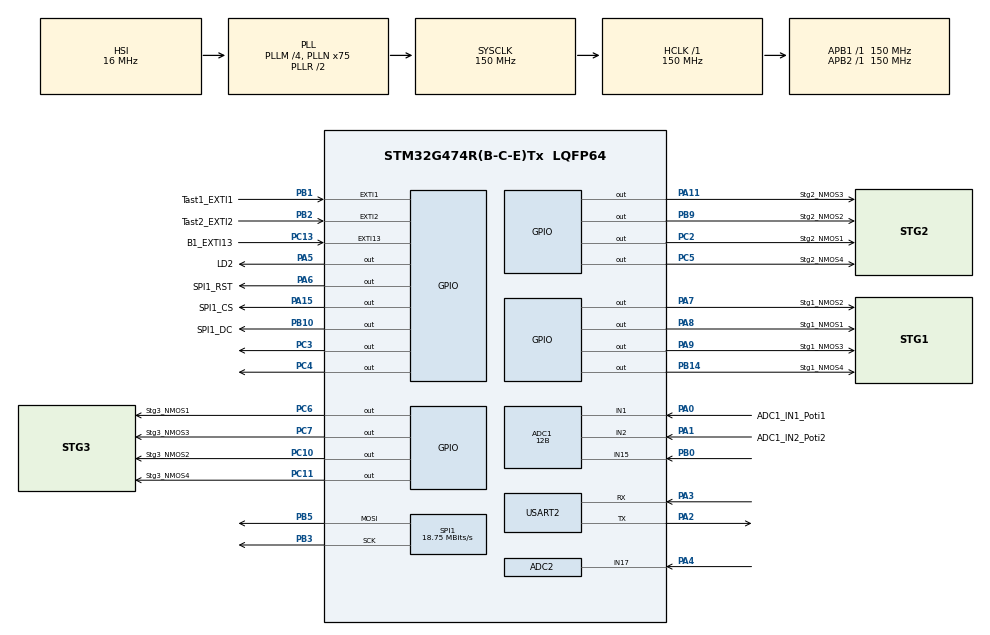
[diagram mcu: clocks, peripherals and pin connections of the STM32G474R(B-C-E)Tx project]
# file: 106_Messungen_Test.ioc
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ADC1.Channel-2\#ChannelRegularConversion=ADC_CHANNEL_1
ADC1.Channel-3\#ChannelRegularConversion=ADC_CHANNEL_2
ADC1.Channel-4\#ChannelRegularConversion=ADC_CHANNEL_15
ADC1.ContinuousConvMode=ENABLE
ADC1.DMAContinuousRequests=ENABLE
ADC1.EOCSelection=ADC_EOC_SEQ_CONV
ADC1.NbrOfConversion=3
ADC1.NbrOfConversionFlag=1
ADC1.OffsetNumber-2\#ChannelRegularConversion=ADC_OFFSET_NONE
ADC1.OffsetNumber-3\#ChannelRegularConversion=ADC_OFFSET_NONE
ADC1.OffsetNumber-4\#ChannelRegularConversion=ADC_OFFSET_NONE
ADC1.Overrun=ADC_OVR_DATA_PRESERVED
ADC1.Rank-2\#ChannelRegularConversion=1
ADC1.Rank-3\#ChannelRegularConversion=2
ADC1.Rank-4\#ChannelRegularConversion=3
ADC1.Resolution=ADC_RESOLUTION_12B
ADC1.SamplingTime-2\#ChannelRegularConversion=ADC_SAMPLETIME_640CYCLES_5
ADC1.SamplingTime-3\#ChannelRegularConversion=ADC_SAMPLETIME_640CYCLES_5
ADC1.SamplingTime-4\#ChannelRegularConversion=ADC_SAMPLETIME_640CYCLES_5
ADC1.master=1
ADC2.Channel-0\#ChannelRegularConversion=ADC_CHANNEL_17
ADC2.ContinuousConvMode=ENABLE
ADC2.DMAContinuousRequests=ENABLE
ADC2.EOCSelection=ADC_EOC_SEQ_CONV
ADC2.NbrOfConversion=1
ADC2.NbrOfConversionFlag=1
ADC2.OffsetNumber-0\#ChannelRegularConversion=ADC_OFFSET_NONE
ADC2.Overrun=ADC_OVR_DATA_PRESERVED
ADC2.Rank-0\#ChannelRegularConversion=1
ADC2.Resolution=ADC_RESOLUTION_12B
ADC2.SamplingTime-0\#ChannelRegularConversion=ADC_SAMPLETIME_640CYCLES_5
Dma.ADC1.0.Direction=DMA_PERIPH_TO_MEMORY
Dma.ADC1.0.EventEnable=DISABLE
Dma.ADC1.0.Instance=DMA1_Channel1
Dma.ADC1.0.MemDataAlignment=DMA_MDATAALIGN_WORD
Dma.ADC1.0.MemInc=DMA_MINC_ENABLE
Dma.ADC1.0.Mode=DMA_CIRCULAR
Dma.ADC1.0.PeriphDataAlignment=DMA_PDATAALIGN_WORD
Dma.ADC1.0.PeriphInc=DMA_PINC_DISABLE
Dma.ADC1.0.Polarity=HAL_DMAMUX_REQ_GEN_RISING
Dma.ADC1.0.Priority=DMA_PRIORITY_LOW
Dma.ADC1.0.RequestNumber=1
Dma.ADC1.0.SignalID=NONE
Dma.ADC1.0.SyncEnable=DISABLE
Dma.ADC1.0.SyncPolarity=HAL_DMAMUX_SYNC_NO_EVENT
Dma.ADC1.0.SyncRequestNumber=1
Dma.ADC1.0.SyncSignalID=NONE
Dma.ADC2.1.Direction=DMA_PERIPH_TO_MEMORY
Dma.ADC2.1.EventEnable=DISABLE
Dma.ADC2.1.Instance=DMA2_Channel1
Dma.ADC2.1.MemDataAlignment=DMA_MDATAALIGN_WORD
Dma.ADC2.1.MemInc=DMA_MINC_ENABLE
Dma.ADC2.1.Mode=DMA_CIRCULAR
Dma.ADC2.1.PeriphDataAlignment=DMA_PDATAALIGN_WORD
Dma.ADC2.1.PeriphInc=DMA_PINC_DISABLE
Dma.ADC2.1.Polarity=HAL_DMAMUX_REQ_GEN_RISING
Dma.ADC2.1.Priority=DMA_PRIORITY_LOW
Dma.ADC2.1.RequestNumber=1
Dma.ADC2.1.SignalID=NONE
Dma.ADC2.1.SyncEnable=DISABLE
Dma.ADC2.1.SyncPolarity=HAL_DMAMUX_SYNC_NO_EVENT
Dma.ADC2.1.SyncRequestNumber=1
Dma.ADC2.1.SyncSignalID=NONE
Dma.Request0=ADC1
Dma.Request1=ADC2
Mcu.Family=STM32G4
Mcu.Name=STM32G474R(B-C-E)Tx
Mcu.Package=LQFP64
NVIC.DMA1_Channel1_IRQn=true\:0\:0\:false\:false\:true\:false\:true\:true
NVIC.DMA2_Channel1_IRQn=true\:0\:0\:false\:false\:true\:false\:true\:true
NVIC.EXTI15_10_IRQn=true\:0\:0\:false\:false\:true\:true\:true\:true
NVIC.EXTI1_IRQn=true\:0\:0\:false\:false\:true\:true\:true\:true
NVIC.EXTI2_IRQn=true\:0\:0\:false\:false\:true\:true\:true\:true
NVIC.PriorityGroup=NVIC_PRIORITYGROUP_4
NVIC.TIM1_TRG_COM_TIM17_IRQn=true\:0\:0\:false\:false\:true\:true\:true\:true
NVIC.TIM1_UP_TIM16_IRQn=true\:0\:0\:false\:false\:true\:true\:true\:true
PA0.GPIO_Label=ADC1_IN1_Poti1
PA0.Mode=IN1-Single-Ended
PA0.Signal=ADC1_IN1
PA1.GPIO_Label=ADC1_IN2_Poti2
PA1.Mode=IN2-Single-Ended
PA1.Signal=ADC1_IN2
PA11.GPIO_Label=Stg2_NMOS3
PA11.Signal=GPIO_Output
PA13.Mode=Serial_Wire
PA13.Signal=SYS_JTMS-SWDIO
PA14.Mode=Serial_Wire
PA14.Signal=SYS_JTCK-SWCLK
PA15.GPIO_Label=SPI1_CS
PA15.Signal=GPIO_Output
PA2.Mode=Asynchronous
PA2.Signal=USART2_TX
PA3.Mode=Asynchronous
PA3.Signal=USART2_RX
PA4.Mode=IN17-Single-Ended
PA4.Signal=ADC2_IN17
PA5.GPIO_Label=LD2
PA5.Signal=GPIO_Output
PA6.GPIO_Label=SPI1_RST
PA6.Signal=GPIO_Output
PA7.GPIO_Label=Stg1_NMOS2
PA7.Signal=GPIO_Output
PA8.GPIO_Label=Stg1_NMOS1
PA8.Signal=GPIO_Output
PA9.GPIO_Label=Stg1_NMOS3
PA9.Signal=GPIO_Output
PB0.Mode=IN15-Single-Ended
PB0.Signal=ADC1_IN15
PB1.GPIO_Label=Tast1_EXTI1
PB1.GPIO_ModeDefaultEXTI=GPIO_MODE_IT_RISING
PB1.GPIO_PuPd=GPIO_PULLDOWN
PB1.Signal=GPXTI1
PB10.GPIO_Label=SPI1_DC
PB10.Signal=GPIO_Output
PB14.GPIO_Label=Stg1_NMOS4
PB14.Signal=GPIO_Output
PB2.GPIO_Label=Tast2_EXTI2
PB2.GPIO_PuPd=GPIO_PULLDOWN
PB2.Signal=GPXTI2
PB3.Mode=TX_Only_Simplex_Unidirect_Master
PB3.Signal=SPI1_SCK
PB5.Mode=TX_Only_Simplex_Unidirect_Master
PB5.Signal=SPI1_MOSI
PB9.GPIO_Label=Stg2_NMOS2
PB9.Signal=GPIO_Output
PC10.GPIO_Label=Stg3_NMOS2
PC10.Signal=GPIO_Output
PC11.GPIO_Label=Stg3_NMOS4
PC11.Signal=GPIO_Output
PC13.GPIO_Label=B1_EXTI13
PC13.GPIO_ModeDefaultEXTI=GPIO_MODE_IT_RISING
PC13.GPIO_PuPd=GPIO_NOPULL
PC13.Signal=GPXTI13
PC2.GPIO_Label=Stg2_NMOS1
PC2.Signal=GPIO_Output
PC3.Signal=GPIO_Output
PC4.Signal=GPIO_Output
PC5.GPIO_Label=Stg2_NMOS4
PC5.Signal=GPIO_Output
PC6.GPIO_Label=Stg3_NMOS1
PC6.Signal=GPIO_Output
PC7.GPIO_Label=Stg3_NMOS3
PC7.Signal=GPIO_Output
PF0-OSC_IN.Mode=HSE-External-Oscillator
PF0-OSC_IN.Signal=RCC_OSC_IN
PF1-OSC_OUT.Mode=HSE-External-Oscillator
PF1-OSC_OUT.Signal=RCC_OSC_OUT
ProjectManager.HeapSize=0x200
ProjectManager.StackSize=0x400
ProjectManager.TargetToolchain=STM32CubeIDE
RCC.ADC12Freq_Value=150000000
RCC.ADC345Freq_Value=150000000
RCC.AHBFreq_Value=150000000
RCC.APB1Freq_Value=150000000
RCC.APB1TimFreq_Value=150000000
RCC.APB2Freq_Value=150000000
RCC.APB2TimFreq_Value=150000000
RCC.CortexFreq_Value=150000000
RCC.EXTERNAL_CLOCK_VALUE=12288000
RCC.HCLKFreq_Value=150000000
RCC.HSE_VALUE=48000000
RCC.HSI48_VALUE=48000000
RCC.HSI_VALUE=16000000
RCC.LSE_VALUE=32768
RCC.PLLM=RCC_PLLM_DIV4
RCC.PLLN=75
RCC.SYSCLKFreq_VALUE=150000000
RCC.SYSCLKSource=RCC_SYSCLKSOURCE_PLLCLK
RCC.USBFreq_Value=150000000
RCC.VCOOutputFreq_Value=300000000
SPI1.BaudRatePrescaler=SPI_BAUDRATEPRESCALER_8
SPI1.CLKPolarity=SPI_POLARITY_LOW
SPI1.CalculateBaudRate=18.75 MBits/s
SPI1.DataSize=SPI_DATASIZE_8BIT
SPI1.Direction=SPI_DIRECTION_2LINES
SPI1.Mode=SPI_MODE_MASTER
SPI1.VirtualType=VM_MASTER
TIM16.PeriodNoDither=1000
TIM16.Prescaler=15000 - 1
TIM17.PeriodNoDither=5000
TIM17.Prescaler=15000-1
USART2.VirtualMode-Asynchronous=VM_ASYNC
VP_SYS_VS_DBSignals.Mode=DisableDeadBatterySignals
VP_TIM16_VS_ClockSourceINT.Mode=Enable_Timer
VP_TIM17_VS_ClockSourceINT.Mode=Enable_Timer
board=custom

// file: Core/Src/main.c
/* USER CODE BEGIN Header */
/**
 ******************************************************************************
 * @file           : main.c
 * @brief          : Main program body
 ******************************************************************************
 Mit diesem Code werden die ADC und Taster getestet.
 State IDLE:
 Im State IDLE ist die ADC-Messung gestoppt.

 State ADC_Values:
 Im State ADC_Values werden die ADC Werte auf dem Display und in der Putty Konsole angezeigt.
 Wenn ein Taster gedrückt wird, erfolgt eine Meldung auf dem Display und in der Konsole.
 Die ADC Werte werden mit dem DMA direkt vom ADC in die Arrays AD_RES_BUFFER_ADC1
 und AD_RES_BUFFER_ADC2 übertragen. Dies benötigt keine CPU Zeit und es können mehrere Kanäle
 eines ADCs ausgelesen werden ohne das die HAL neu konfiguriert werden muss.
 Mit der Timer Callback Funktion HAL_TIM_PeriodElapsedCallback wird das Display und
 die Konsole alle 0.5s aktualisiert.

 Der Blaue User Button B1 wird für die Umschaltung zwischen den States verwendet.
 Die externen Buttons haben zurzeit noch keine Funktion.

 ******************************************************************************
 */
/* USER CODE END Header */
#include "main.h"

/* USER CODE BEGIN Includes */
#include "ST7735.h"
#include "GFX_FUNCTIONS.h"
#include "task_handler.h"
#include <stdbool.h>
/* USER CODE END Includes */

ADC_HandleTypeDef hadc1;
ADC_HandleTypeDef hadc2;
DMA_HandleTypeDef hdma_adc1;
DMA_HandleTypeDef hdma_adc2;

SPI_HandleTypeDef hspi1;

TIM_HandleTypeDef htim16;
TIM_HandleTypeDef htim17;

UART_HandleTypeDef huart2;

/* USER CODE BEGIN PV */
uint8_t px_ofs2 = 15;			// Offset in pixel
// Arrays für ADC Messungen, DMA schreibt direkt in diese Arrays
uint32_t AD_RES_BUFFER_ADC1[3];
uint32_t AD_RES_BUFFER_ADC2[1];
// Char Array für Konsole
char msg_console[80];
// Char Array für Display
char msg_display[20];
/* USER CODE END PV */

void SystemClock_Config(void);
static void MX_GPIO_Init(void);
static void MX_DMA_Init(void);
static void MX_SPI1_Init(void);
static void MX_TIM16_Init(void);
static void MX_ADC1_Init(void);
static void MX_USART2_UART_Init(void);
static void MX_TIM17_Init(void);
static void MX_ADC2_Init(void);

/* USER CODE BEGIN 0 */
/* Interrupts *****************************************************************/
// GPIO Callback
void HAL_GPIO_EXTI_Callback(uint16_t GPIO_Pin) {
	/* Prevent unused argument(s) compilation warning */
	UNUSED(GPIO_Pin);
	// Interrupt Routine
	switch (GPIO_Pin) {
	case B1_EXTI13_Pin: // B1 pressed
		switch (handler_state) {
		case IDLE:
			set_handler_state(ADC_Values);
			break;
		case ADC_Values:
			set_handler_state(IDLE);
			break;
		default:
			set_handler_state(IDLE);
			break;
		}
		break;
	case Tast1_EXTI1_Pin: // Taster1 pressed
		// Display
		// Clear Last Button Message
		ST7735_FillRectangle(0, 5 * px_ofs2, 0, px_ofs2, BLACK);
		sprintf(msg_display, "Taster1 gedrueckt!");
		ST7735_WriteString(0, 5 * px_ofs2, msg_display, Font_7x10, GREEN,
		BLACK);
		// Console
		sprintf(msg_console, "Taster1 gedrückt! \r\n");
		HAL_UART_Transmit(&huart2, (uint8_t*) msg_console, strlen(msg_console),
		HAL_MAX_DELAY);
		break;
	case Tast2_EXTI2_Pin: // Taster2 pressed
		// Display
		// Clear Last Button Message
		ST7735_FillRectangle(0, 5 * px_ofs2, 0, px_ofs2, BLACK);
		sprintf(msg_display, "Taster2 gedrueckt!");
		ST7735_WriteString(0, 5 * px_ofs2, msg_display, Font_7x10, GREEN,
		BLACK);
		// Console
		sprintf(msg_console, "Taster2 gedrückt! \r\n");
		HAL_UART_Transmit(&huart2, (uint8_t*) msg_console, strlen(msg_console),
		HAL_MAX_DELAY);
		break;
	default:
		break;
	}
}

// Timer timeout Callback
void HAL_TIM_PeriodElapsedCallback(TIM_HandleTypeDef *htim) {

	__disable_irq();
	// Überprüfe welcher Timer diese callback Funktion aufruft
	// time_val um 100ms inkrementieren
	if (htim == &htim16) {
		HAL_GPIO_TogglePin(GPIOC, GPIO_PIN_3);
		if (handler_state == ADC_Values) {
			inc_handler_currentTime(100);
		}
	}
	// Display und Konsole alle 0.5s aktualisieren
	else if (htim == &htim17) {
		switch (handler_state) {
		case IDLE:
			ST7735_WriteString(0, px_ofs2, "Poti1: xx", Font_7x10, GREEN,
			BLACK);
			ST7735_WriteString(0, 2 * px_ofs2, "Poti2: xx", Font_7x10, GREEN,
			BLACK);
			ST7735_WriteString(0, 3 * px_ofs2, "BNC1: xx", Font_7x10, GREEN,
			BLACK);
			ST7735_WriteString(0, 4 * px_ofs2, "BNC2: xx", Font_7x10, GREEN,
			BLACK);
			break;
		case ADC_Values:
			// Display
			adc_values *ptr = get_adc_values();
			sprintf(msg_display, "Poti1: %2.2fV", ptr->poti1_Vf);
			ST7735_WriteString(0, px_ofs2, msg_display, Font_7x10, GREEN,
			BLACK);
			sprintf(msg_display, "Poti2: %2.2fV", ptr->poti2_Vf);
			ST7735_WriteString(0, 2 * px_ofs2, msg_display, Font_7x10, GREEN,
			BLACK);
			sprintf(msg_display, "BNC1:  %2.2fV", ptr->bnc1_Vf);
			ST7735_WriteString(0, 3 * px_ofs2, msg_display, Font_7x10, GREEN,
			BLACK);
			sprintf(msg_display, "BNC2:  %2.2fV", ptr->bnc2_Vf);
			ST7735_WriteString(0, 4 * px_ofs2, msg_display, Font_7x10, GREEN,
			BLACK);
			// Console
			sprintf(msg_console,
					"Poti1: %2.2fV | Poti2: %2.2fV | bnc1: %2.2fV | bnc2: %2.2fV \r\n",
					ptr->poti1_Vf, ptr->poti2_Vf, ptr->bnc1_Vf, ptr->bnc2_Vf);
			HAL_UART_Transmit(&huart2, (uint8_t*) msg_console,
					strlen(msg_console), HAL_MAX_DELAY);
			break;
		default:
			set_handler_state(IDLE);
			break;
		}

	}
	__enable_irq();
}

/* ADC *******************************************************************/
// DMA Callback
// Diese Callback Funktion kann aktiviert werden, wenn der DMA Transfer überprüft werden soll.
//void HAL_ADC_ConvCpltCallback(ADC_HandleTypeDef* hadc)
//{
//    // Conversion Complete & DMA Transfer Complete As Well
//    // So The AD_RES_BUFFER Is Now Updated & Let's Move Values To The PWM CCRx
//    // Update The PWM Channels With Latest ADC Scan Conversion Results
//	if(hadc == &hadc1)
//	{
//	    uint16_t poti1_raw = (AD_RES_BUFFER_ADC1[0] << 4); // Map 12 Bit to 16 Bit values
//	    poti1_V = (3.3*(float)poti1_raw)/65535;
//	    uint16_t poti2_raw = (AD_RES_BUFFER_ADC1[1] << 4);
//	    poti2_V = (3.3*(float)poti2_raw)/65535;
//	    uint16_t bnc1_raw = (AD_RES_BUFFER_ADC1[2] << 4);
//	    bnc1_V = (3.3*(float)bnc1_raw)/65535;
//	}
//	else if(hadc == &hadc2)
//	{
//	    uint16_t bnc2_raw = (AD_RES_BUFFER_ADC2[0] << 4);
//	    bnc2_V = (3.3*(float)bnc2_raw)/65535;
//	}
//}
/* USER CODE END 0 */

int main(void) {

	/* MCU Configuration--------------------------------------------------------*/

	/* Reset of all peripherals, Initializes the Flash interface and the Systick. */
	HAL_Init();

	/* Configure the system clock */
	SystemClock_Config();

	/* Initialize all configured peripherals */
	MX_GPIO_Init();
	MX_DMA_Init();
	MX_SPI1_Init();
	MX_TIM16_Init();
	MX_ADC1_Init();
	MX_USART2_UART_Init();
	MX_TIM17_Init();
	MX_ADC2_Init();
	/* USER CODE BEGIN 2 */

	// Display Init
	ST7735_Init(1);
	fillScreen(BLACK);

	// Start Timers im Interrupt Modus
	HAL_TIM_Base_Start_IT(&htim16);

	// Start ADC1 & ADC2 mit DMA transfer
	HAL_ADC_Start_DMA(&hadc1, AD_RES_BUFFER_ADC1, 3);
	HAL_ADC_Start_DMA(&hadc2, AD_RES_BUFFER_ADC2, 1);

	// Set first State
	set_handler_state(IDLE);

	/* USER CODE END 2 */

	/* Infinite loop */
	while (1) {

		/* USER CODE BEGIN 3 */
		// Run StateMachine
		handler_task();
	}
	/* USER CODE END 3 */
}

void SystemClock_Config(void) {
	RCC_OscInitTypeDef RCC_OscInitStruct = { 0 };
	RCC_ClkInitTypeDef RCC_ClkInitStruct = { 0 };

	/** Configure the main internal regulator output voltage
	 */
	HAL_PWREx_ControlVoltageScaling(PWR_REGULATOR_VOLTAGE_SCALE1);

	/** Initializes the RCC Oscillators according to the specified parameters
	 * in the RCC_OscInitTypeDef structure.
	 */
	RCC_OscInitStruct.OscillatorType = RCC_OSCILLATORTYPE_HSI;
	RCC_OscInitStruct.HSIState = RCC_HSI_ON;
	RCC_OscInitStruct.HSICalibrationValue = RCC_HSICALIBRATION_DEFAULT;
	RCC_OscInitStruct.PLL.PLLState = RCC_PLL_ON;
	RCC_OscInitStruct.PLL.PLLSource = RCC_PLLSOURCE_HSI;
	RCC_OscInitStruct.PLL.PLLM = RCC_PLLM_DIV4;
	RCC_OscInitStruct.PLL.PLLN = 75;
	RCC_OscInitStruct.PLL.PLLP = RCC_PLLP_DIV2;
	RCC_OscInitStruct.PLL.PLLQ = RCC_PLLQ_DIV2;
	RCC_OscInitStruct.PLL.PLLR = RCC_PLLR_DIV2;
	if (HAL_RCC_OscConfig(&RCC_OscInitStruct) != HAL_OK) {
		Error_Handler();
	}

	/** Initializes the CPU, AHB and APB buses clocks
	 */
	RCC_ClkInitStruct.ClockType = RCC_CLOCKTYPE_HCLK | RCC_CLOCKTYPE_SYSCLK
			| RCC_CLOCKTYPE_PCLK1 | RCC_CLOCKTYPE_PCLK2;
	RCC_ClkInitStruct.SYSCLKSource = RCC_SYSCLKSOURCE_PLLCLK;
	RCC_ClkInitStruct.AHBCLKDivider = RCC_SYSCLK_DIV1;
	RCC_ClkInitStruct.APB1CLKDivider = RCC_HCLK_DIV1;
	RCC_ClkInitStruct.APB2CLKDivider = RCC_HCLK_DIV1;

	if (HAL_RCC_ClockConfig(&RCC_ClkInitStruct, FLASH_LATENCY_4) != HAL_OK) {
		Error_Handler();
	}
}

static void MX_ADC1_Init(void) {

	ADC_MultiModeTypeDef multimode = { 0 };
	ADC_ChannelConfTypeDef sConfig = { 0 };

	/** Common config
	 */
	hadc1.Instance = ADC1;
	hadc1.Init.ClockPrescaler = ADC_CLOCK_SYNC_PCLK_DIV4;
	hadc1.Init.Resolution = ADC_RESOLUTION_12B;
	hadc1.Init.DataAlign = ADC_DATAALIGN_RIGHT;
	hadc1.Init.GainCompensation = 0;
	hadc1.Init.ScanConvMode = ADC_SCAN_ENABLE;
	hadc1.Init.EOCSelection = ADC_EOC_SEQ_CONV;
	hadc1.Init.LowPowerAutoWait = DISABLE;
	hadc1.Init.ContinuousConvMode = ENABLE;
	hadc1.Init.NbrOfConversion = 3;
	hadc1.Init.DiscontinuousConvMode = DISABLE;
	hadc1.Init.ExternalTrigConv = ADC_SOFTWARE_START;
	hadc1.Init.ExternalTrigConvEdge = ADC_EXTERNALTRIGCONVEDGE_NONE;
	hadc1.Init.DMAContinuousRequests = ENABLE;
	hadc1.Init.Overrun = ADC_OVR_DATA_PRESERVED;
	hadc1.Init.OversamplingMode = DISABLE;
	if (HAL_ADC_Init(&hadc1) != HAL_OK) {
		Error_Handler();
	}

	/** Configure the ADC multi-mode
	 */
	multimode.Mode = ADC_MODE_INDEPENDENT;
	if (HAL_ADCEx_MultiModeConfigChannel(&hadc1, &multimode) != HAL_OK) {
		Error_Handler();
	}

	/** Configure Regular Channel
	 */
	sConfig.Channel = ADC_CHANNEL_1;
	sConfig.Rank = ADC_REGULAR_RANK_1;
	sConfig.SamplingTime = ADC_SAMPLETIME_640CYCLES_5;
	sConfig.SingleDiff = ADC_SINGLE_ENDED;
	sConfig.OffsetNumber = ADC_OFFSET_NONE;
	sConfig.Offset = 0;
	if (HAL_ADC_ConfigChannel(&hadc1, &sConfig) != HAL_OK) {
		Error_Handler();
	}

	/** Configure Regular Channel
	 */
	sConfig.Channel = ADC_CHANNEL_2;
	sConfig.Rank = ADC_REGULAR_RANK_2;
	if (HAL_ADC_ConfigChannel(&hadc1, &sConfig) != HAL_OK) {
		Error_Handler();
	}

	/** Configure Regular Channel
	 */
	sConfig.Channel = ADC_CHANNEL_15;
	sConfig.Rank = ADC_REGULAR_RANK_3;
	if (HAL_ADC_ConfigChannel(&hadc1, &sConfig) != HAL_OK) {
		Error_Handler();
	}

}

static void MX_ADC2_Init(void) {

	ADC_ChannelConfTypeDef sConfig = { 0 };

	/** Common config
	 */
	hadc2.Instance = ADC2;
	hadc2.Init.ClockPrescaler = ADC_CLOCK_SYNC_PCLK_DIV4;
	hadc2.Init.Resolution = ADC_RESOLUTION_12B;
	hadc2.Init.DataAlign = ADC_DATAALIGN_RIGHT;
	hadc2.Init.GainCompensation = 0;
	hadc2.Init.ScanConvMode = ADC_SCAN_DISABLE;
	hadc2.Init.EOCSelection = ADC_EOC_SEQ_CONV;
	hadc2.Init.LowPowerAutoWait = DISABLE;
	hadc2.Init.ContinuousConvMode = ENABLE;
	hadc2.Init.NbrOfConversion = 1;
	hadc2.Init.DiscontinuousConvMode = DISABLE;
	hadc2.Init.ExternalTrigConv = ADC_SOFTWARE_START;
	hadc2.Init.ExternalTrigConvEdge = ADC_EXTERNALTRIGCONVEDGE_NONE;
	hadc2.Init.DMAContinuousRequests = ENABLE;
	hadc2.Init.Overrun = ADC_OVR_DATA_PRESERVED;
	hadc2.Init.OversamplingMode = DISABLE;
	if (HAL_ADC_Init(&hadc2) != HAL_OK) {
		Error_Handler();
	}

	/** Configure Regular Channel
	 */
	sConfig.Channel = ADC_CHANNEL_17;
	sConfig.Rank = ADC_REGULAR_RANK_1;
	sConfig.SamplingTime = ADC_SAMPLETIME_640CYCLES_5;
	sConfig.SingleDiff = ADC_SINGLE_ENDED;
	sConfig.OffsetNumber = ADC_OFFSET_NONE;
	sConfig.Offset = 0;
	if (HAL_ADC_ConfigChannel(&hadc2, &sConfig) != HAL_OK) {
		Error_Handler();
	}

}

static void MX_SPI1_Init(void) {

	/* SPI1 parameter configuration*/
	hspi1.Instance = SPI1;
	hspi1.Init.Mode = SPI_MODE_MASTER;
	hspi1.Init.Direction = SPI_DIRECTION_2LINES;
	hspi1.Init.DataSize = SPI_DATASIZE_8BIT;
	hspi1.Init.CLKPolarity = SPI_POLARITY_LOW;
	hspi1.Init.CLKPhase = SPI_PHASE_1EDGE;
	hspi1.Init.NSS = SPI_NSS_SOFT;
	hspi1.Init.BaudRatePrescaler = SPI_BAUDRATEPRESCALER_8;
	hspi1.Init.FirstBit = SPI_FIRSTBIT_MSB;
	hspi1.Init.TIMode = SPI_TIMODE_DISABLE;
	hspi1.Init.CRCCalculation = SPI_CRCCALCULATION_DISABLE;
	hspi1.Init.CRCPolynomial = 7;
	hspi1.Init.CRCLength = SPI_CRC_LENGTH_DATASIZE;
	hspi1.Init.NSSPMode = SPI_NSS_PULSE_ENABLE;
	if (HAL_SPI_Init(&hspi1) != HAL_OK) {
		Error_Handler();
	}

}

static void MX_TIM16_Init(void) {

	htim16.Instance = TIM16;
	htim16.Init.Prescaler = 15000 - 1;
	htim16.Init.CounterMode = TIM_COUNTERMODE_UP;
	htim16.Init.Period = 1000;
	htim16.Init.ClockDivision = TIM_CLOCKDIVISION_DIV1;
	htim16.Init.RepetitionCounter = 0;
	htim16.Init.AutoReloadPreload = TIM_AUTORELOAD_PRELOAD_DISABLE;
	if (HAL_TIM_Base_Init(&htim16) != HAL_OK) {
		Error_Handler();
	}

}

static void MX_TIM17_Init(void) {

	htim17.Instance = TIM17;
	htim17.Init.Prescaler = 15000 - 1;
	htim17.Init.CounterMode = TIM_COUNTERMODE_UP;
	htim17.Init.Period = 5000;
	htim17.Init.ClockDivision = TIM_CLOCKDIVISION_DIV1;
	htim17.Init.RepetitionCounter = 0;
	htim17.Init.AutoReloadPreload = TIM_AUTORELOAD_PRELOAD_DISABLE;
	if (HAL_TIM_Base_Init(&htim17) != HAL_OK) {
		Error_Handler();
	}

}

static void MX_USART2_UART_Init(void) {

	huart2.Instance = USART2;
	huart2.Init.BaudRate = 115200;
	huart2.Init.WordLength = UART_WORDLENGTH_8B;
	huart2.Init.StopBits = UART_STOPBITS_1;
	huart2.Init.Parity = UART_PARITY_NONE;
	huart2.Init.Mode = UART_MODE_TX_RX;
	huart2.Init.HwFlowCtl = UART_HWCONTROL_NONE;
	huart2.Init.OverSampling = UART_OVERSAMPLING_16;
	huart2.Init.OneBitSampling = UART_ONE_BIT_SAMPLE_DISABLE;
	huart2.Init.ClockPrescaler = UART_PRESCALER_DIV1;
	huart2.AdvancedInit.AdvFeatureInit = UART_ADVFEATURE_NO_INIT;
	if (HAL_UART_Init(&huart2) != HAL_OK) {
		Error_Handler();
	}
	if (HAL_UARTEx_SetTxFifoThreshold(&huart2, UART_TXFIFO_THRESHOLD_1_8)
			!= HAL_OK) {
		Error_Handler();
	}
	if (HAL_UARTEx_SetRxFifoThreshold(&huart2, UART_RXFIFO_THRESHOLD_1_8)
			!= HAL_OK) {
		Error_Handler();
	}
	if (HAL_UARTEx_DisableFifoMode(&huart2) != HAL_OK) {
		Error_Handler();
	}

}

static void MX_DMA_Init(void) {

	/* DMA controller clock enable */
	__HAL_RCC_DMAMUX1_CLK_ENABLE();
	__HAL_RCC_DMA1_CLK_ENABLE();
	__HAL_RCC_DMA2_CLK_ENABLE();

	/* DMA interrupt init */
	/* DMA1_Channel1_IRQn interrupt configuration */
	HAL_NVIC_SetPriority(DMA1_Channel1_IRQn, 0, 0);
	HAL_NVIC_EnableIRQ(DMA1_Channel1_IRQn);
	/* DMA2_Channel1_IRQn interrupt configuration */
	HAL_NVIC_SetPriority(DMA2_Channel1_IRQn, 0, 0);
	HAL_NVIC_EnableIRQ(DMA2_Channel1_IRQn);

}

static void MX_GPIO_Init(void) {
	GPIO_InitTypeDef GPIO_InitStruct = { 0 };

	/* GPIO Ports Clock Enable */
	__HAL_RCC_GPIOC_CLK_ENABLE();
	__HAL_RCC_GPIOF_CLK_ENABLE();
	__HAL_RCC_GPIOA_CLK_ENABLE();
	__HAL_RCC_GPIOB_CLK_ENABLE();

	/*Configure GPIO pin Output Level */
	HAL_GPIO_WritePin(GPIOC,
			Stg2_NMOS1_Pin | GPIO_PIN_3 | GPIO_PIN_4 | Stg2_NMOS4_Pin
					| Stg3_NMOS1_Pin | Stg3_NMOS3_Pin | Stg3_NMOS2_Pin
					| Stg3_NMOS4_Pin, GPIO_PIN_RESET);

	/*Configure GPIO pin Output Level */
	HAL_GPIO_WritePin(GPIOA,
			LD2_Pin | SPI1_RST_Pin | Stg1_NMOS2_Pin | Stg1_NMOS1_Pin
					| Stg1_NMOS3_Pin | Stg2_NMOS3_Pin | SPI1_CS_Pin,
			GPIO_PIN_RESET);

	/*Configure GPIO pin Output Level */
	HAL_GPIO_WritePin(GPIOB, SPI1_DC_Pin | Stg1_NMOS4_Pin | Stg2_NMOS2_Pin,
			GPIO_PIN_RESET);

	/*Configure GPIO pin : B1_EXTI13_Pin */
	GPIO_InitStruct.Pin = B1_EXTI13_Pin;
	GPIO_InitStruct.Mode = GPIO_MODE_IT_RISING;
	GPIO_InitStruct.Pull = GPIO_NOPULL;
	HAL_GPIO_Init(B1_EXTI13_GPIO_Port, &GPIO_InitStruct);

	/*Configure GPIO pins : Stg2_NMOS1_Pin PC3 PC4 Stg2_NMOS4_Pin
	 Stg3_NMOS1_Pin Stg3_NMOS3_Pin Stg3_NMOS2_Pin Stg3_NMOS4_Pin */
	GPIO_InitStruct.Pin = Stg2_NMOS1_Pin | GPIO_PIN_3 | GPIO_PIN_4
			| Stg2_NMOS4_Pin | Stg3_NMOS1_Pin | Stg3_NMOS3_Pin | Stg3_NMOS2_Pin
			| Stg3_NMOS4_Pin;
	GPIO_InitStruct.Mode = GPIO_MODE_OUTPUT_PP;
	GPIO_InitStruct.Pull = GPIO_NOPULL;
	GPIO_InitStruct.Speed = GPIO_SPEED_FREQ_LOW;
	HAL_GPIO_Init(GPIOC, &GPIO_InitStruct);

	/*Configure GPIO pins : LD2_Pin SPI1_RST_Pin Stg1_NMOS2_Pin Stg1_NMOS1_Pin
	 Stg1_NMOS3_Pin Stg2_NMOS3_Pin SPI1_CS_Pin */
	GPIO_InitStruct.Pin = LD2_Pin | SPI1_RST_Pin | Stg1_NMOS2_Pin
			| Stg1_NMOS1_Pin | Stg1_NMOS3_Pin | Stg2_NMOS3_Pin | SPI1_CS_Pin;
	GPIO_InitStruct.Mode = GPIO_MODE_OUTPUT_PP;
	GPIO_InitStruct.Pull = GPIO_NOPULL;
	GPIO_InitStruct.Speed = GPIO_SPEED_FREQ_LOW;
	HAL_GPIO_Init(GPIOA, &GPIO_InitStruct);

	/*Configure GPIO pins : Tast1_EXTI1_Pin Tast2_EXTI2_Pin */
	GPIO_InitStruct.Pin = Tast1_EXTI1_Pin | Tast2_EXTI2_Pin;
	GPIO_InitStruct.Mode = GPIO_MODE_IT_RISING;
	GPIO_InitStruct.Pull = GPIO_PULLDOWN;
	HAL_GPIO_Init(GPIOB, &GPIO_InitStruct);

	/*Configure GPIO pins : SPI1_DC_Pin Stg1_NMOS4_Pin Stg2_NMOS2_Pin */
	GPIO_InitStruct.Pin = SPI1_DC_Pin | Stg1_NMOS4_Pin | Stg2_NMOS2_Pin;
	GPIO_InitStruct.Mode = GPIO_MODE_OUTPUT_PP;
	GPIO_InitStruct.Pull = GPIO_NOPULL;
	GPIO_InitStruct.Speed = GPIO_SPEED_FREQ_LOW;
	HAL_GPIO_Init(GPIOB, &GPIO_InitStruct);

	/* EXTI interrupt init*/
	HAL_NVIC_SetPriority(EXTI1_IRQn, 0, 0);
	HAL_NVIC_EnableIRQ(EXTI1_IRQn);

	HAL_NVIC_SetPriority(EXTI2_IRQn, 0, 0);
	HAL_NVIC_EnableIRQ(EXTI2_IRQn);

	HAL_NVIC_SetPriority(EXTI15_10_IRQn, 0, 0);
	HAL_NVIC_EnableIRQ(EXTI15_10_IRQn);

}

void Error_Handler(void) {
	__disable_irq();
	while (1) {
	}
}
